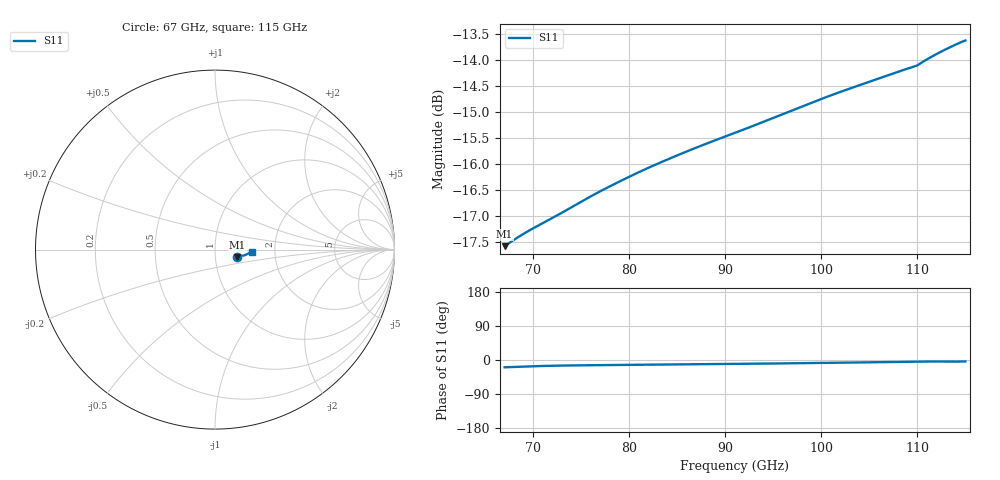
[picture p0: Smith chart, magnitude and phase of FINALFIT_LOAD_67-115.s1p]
! Generated by Phase I extraction
# Hz S RI R 50
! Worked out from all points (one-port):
!   1001 points, 67 GHz to 115 GHz, reference 50 ohm
!   lowest |S11| = -17.6 dB at 67 GHz (marker M1), VSWR 1.30, Z = 64 - j5.67 ohm
!   |S11| at or under -10 dB: start of sweep to end of sweep
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6.7e10  0.1247 -0.0435
6.7192e10  0.1252 -0.0433
6.8296e10  0.128 -0.0416
6.94e10  0.1306 -0.0399
7.1272e10  0.1344 -0.0374
7.3e10  0.1377 -0.0361
7.4392e10  0.1403 -0.0355
7.6264e10  0.1438 -0.0351
7.9e10  0.1485 -0.0346
8.1736e10  0.153 -0.0341
8.5e10  0.1581 -0.0333
8.7784e10  0.1622 -0.0324
9.1e10  0.1669 -0.031
9.316e10  0.1703 -0.0295
9.7e10  0.1764 -0.0269
1.00264e11  0.1817 -0.0246
1.03e11  0.186 -0.0221
1.0564e11  0.19 -0.0193
1.09e11  0.1951 -0.0154
1.0996e11  0.1965 -0.0144
1.10824e11  0.1989 -0.0134
1.11352e11  0.2002 -0.0135
1.12072e11  0.2018 -0.0142
1.12936e11  0.2036 -0.0152
1.13512e11  0.2049 -0.0155
1.14184e11  0.2062 -0.0151
1.1476e11  0.2074 -0.0142
1.15e11  0.2078 -0.0136
